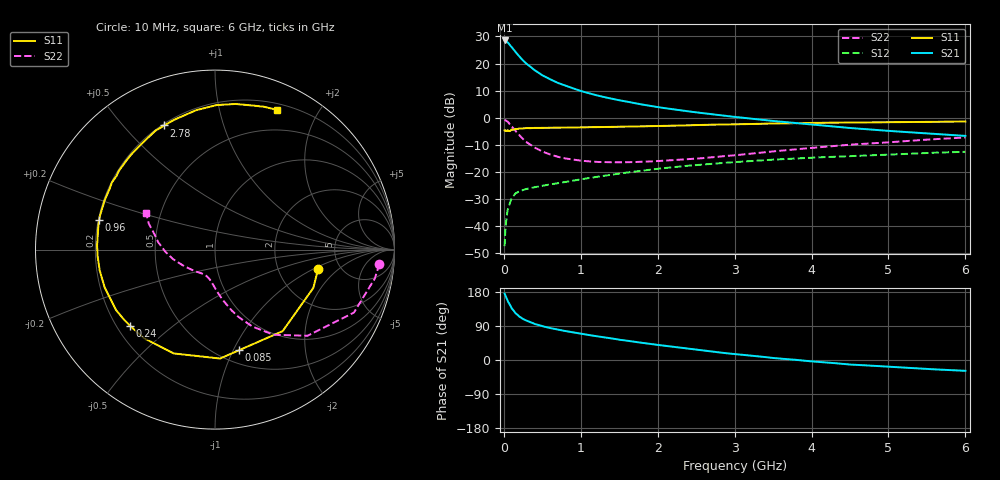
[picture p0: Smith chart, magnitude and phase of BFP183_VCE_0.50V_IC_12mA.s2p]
! Infineon Technologies  Discrete & RF Semiconductors
! BFP183
! VCE = 0.50V,  IC =  12 mA
! Common Emitter S-Parameters:  Jan 2016
# GHz  S  MA  R  50
!  f  S11  S21  S12  S22
! GHz  MAG  ANG  MAG  ANG  MAG  ANG  MAG  ANG
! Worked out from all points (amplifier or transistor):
!   210 points, 10 MHz to 6 GHz, reference 50 ohm
!   highest |S21| = 28.5 dB at 10 MHz (marker M1)
!   |S21| within 3 dB of that: start of sweep to 117.4 MHz
!   unconditionally stable (mu >= 1): 668.6 MHz to end of sweep
!   at 185 MHz: K = 0.37, MSG = 25.2 dB, |S12| = -27.3 dB
!   at 1.52 GHz: K = 1.37, MAG = 9.8 dB, |S12| = -20.5 dB
!   at 6 GHz: K = 1.25, MAG = -0.1 dB, |S12| = -12.5 dB
!   S11 on the Smith chart (normalised r, x): 10 MHz: 3.42, -1.11; 85 MHz: 0.63, -1.05; 240 MHz: 0.25, -0.36; 960 MHz: 0.20, +0.12; 2.78 GHz: 0.21, +0.65; 6 GHz: 0.26, +1.50
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0.01  0.5844 -10.5  26.59 175.0  0.0043 85.5  0.9195 -5.0
0.02  0.588 -21.3  26.37 170.1  0.0086 82.1  0.9051 -10.2
0.05  0.5903 -50.3  24.63 155.5  0.02 69.9  0.8498 -24.4
0.085  0.5767 -76.7  21.31 143.2  0.0286 57.4  0.7391 -36.7
0.1  0.6076 -87.3  20.25 136.8  0.0325 54.1  0.7042 -43.0
0.15  0.6227 -111.7  16.44 123.9  0.0403 44.9  0.5755 -55.5
0.2  0.6325 -128.7  13.51 114.7  0.0442 40.1  0.4784 -63.9
0.24  0.6357 -138.1  11.74 109.5  0.0463 37.2  0.4184 -68.8
0.26  0.6395 -142.0  10.99 107.1  0.0472 36.3  0.3931 -71.1
0.3  0.646 -148.5  9.749 103.2  0.049 35.6  0.3504 -74.8
0.4  0.6499 -161.0  7.527 95.1  0.0525 34.3  0.2826 -81.4
0.5  0.6529 -169.8  6.062 89.3  0.0558 34.8  0.2387 -86.5
0.7  0.6574 177.9  4.403 80.2  0.062 36.7  0.1909 -94.2
0.96  0.6658 165.7  3.259 70.8  0.0716 38.9  0.165 -101.5
1.02  0.668 163.2  3.059 68.6  0.0739 39.3  0.161 -103.4
1.5  0.6853 147.0  2.105 53.6  0.0938 40.4  0.1507 -115.9
2.02  0.7059 131.2  1.553 39.3  0.1154 38.5  0.1601 -129.2
2.78  0.7474 112.3  1.124 20.2  0.1446 32.9  0.1919 -150.2
3.1  0.7616 105.4  1.003 13.8  0.1555 30.2  0.21 -158.5
4.1  0.807 87.9  0.729 -5.1  0.1864 21.5  0.286 179.9
5.1  0.8297 75.3  0.561 -18.8  0.2121 13.8  0.3609 163.5
6  0.8516 66.2  0.463 -28.6  0.2362 5.4  0.4335 152.2
